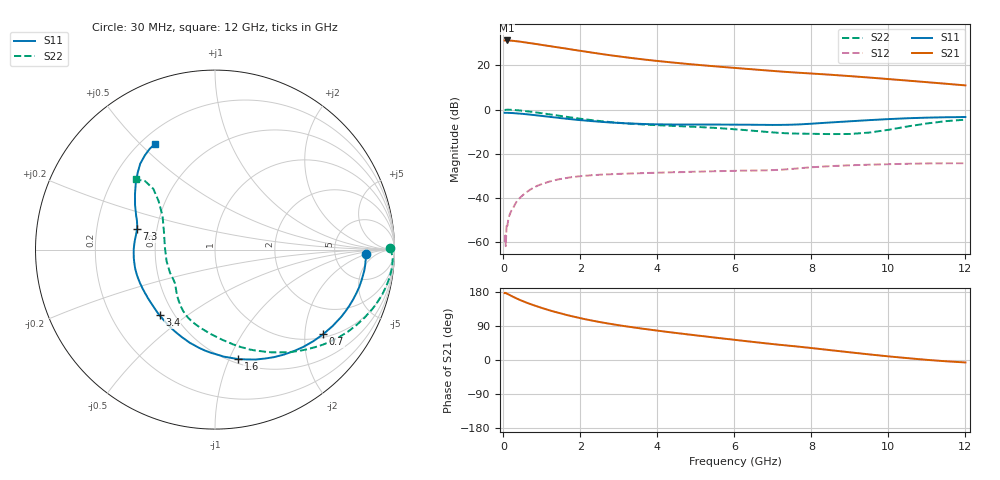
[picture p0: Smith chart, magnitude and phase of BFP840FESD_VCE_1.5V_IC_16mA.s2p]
! Infineon Technologies  Discrete & RF Semiconductors
! BFP840FESD
! VCE =  1.5 V,  IC =  16 mA
! Common Emitter S-Parameters:  May 2012
# GHz  S  MA  R  50
!  f  S11  S21  S12  S22
! GHz  MAG  ANG  MAG  ANG  MAG  ANG  MAG  ANG
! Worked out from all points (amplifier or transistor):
!   103 points, 30 MHz to 12 GHz, reference 50 ohm
!   highest |S21| = 31.3 dB at 80 MHz (marker M1)
!   |S21| within 3 dB of that: start of sweep to 1.365 GHz
!   unconditionally stable (mu >= 1): 6.046 GHz to end of sweep
!   at 400 MHz: K = 0.12, MSG = 35.7 dB, |S12| = -40.5 dB
!   at 3.7 GHz: K = 0.67, MSG = 25.7 dB, |S12| = -28.8 dB
!   at 12 GHz: K = 1.13, MAG = 15.5 dB, |S12| = -24.4 dB
!   S11 on the Smith chart (normalised r, x): 30 MHz: 11, -2; 700 MHz: 1.09, -2.48; 1.6 GHz: 0.54, -1.08; 3.4 GHz: 0.42, -0.40; 7.3 GHz: 0.38, +0.11; 12 GHz: 0.25, +0.55
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0.03  0.844 -1.7  36.68 176.6  0.001 80.6  0.9741 0.4
0.04  0.8431 -2.2  36.71 176.1  0.0011 104.9  0.9797 -0.2
0.05  0.8417 -2.8  36.76 177.2  0.0014 122.2  0.9834 -0.7
0.08  0.8408 -4.6  36.78 175.7  0.0022 76.7  0.9893 -2.5
0.25  0.8306 -14.4  36.04 166.9  0.0058 81.3  0.9807 -10.5
0.35  0.8179 -20.0  35.21 162.0  0.0084 77.9  0.9655 -14.8
0.5  0.7971 -28.0  33.85 155.5  0.0114 73.9  0.9371 -20.7
0.7  0.7653 -38.0  31.89 147.6  0.0154 69.0  0.8939 -28.0
0.9  0.7323 -47.7  30.08 140.6  0.019 63.3  0.8482 -34.9
1.1  0.6993 -56.8  28.24 134.1  0.0219 58.7  0.8019 -41.3
1.3  0.6673 -65.5  26.58 128.1  0.0246 54.6  0.7561 -47.3
1.6  0.6241 -77.9  24.3 119.9  0.0277 49.2  0.6919 -55.8
2.1  0.5649 -95.8  20.77 108.1  0.0315 41.8  0.6036 -68.5
2.7  0.514 -113.4  17.36 96.6  0.0339 36.3  0.5269 -80.9
3.4  0.4786 -130.2  14.45 85.7  0.0357 32.7  0.4719 -92.7
4.1  0.4612 -144.3  12.36 76.2  0.0372 30.8  0.4379 -102.1
5  0.4573 -159.6  10.38 65.0  0.039 29.7  0.4041 -112.5
6.1  0.4537 -175.9  8.65 52.1  0.041 29.2  0.3524 -124.8
7.3  0.4498 165.2  7.171 38.9  0.0438 33.2  0.2914 -140.2
8.5  0.5092 151.0  6.141 25.9  0.0522 31.7  0.2775 -166.3
10.5  0.6348 131.0  4.528 4.9  0.059 25.3  0.4142 139.3
12  0.6766 119.8  3.525 -6.5  0.0606 23.1  0.5891 138.4
